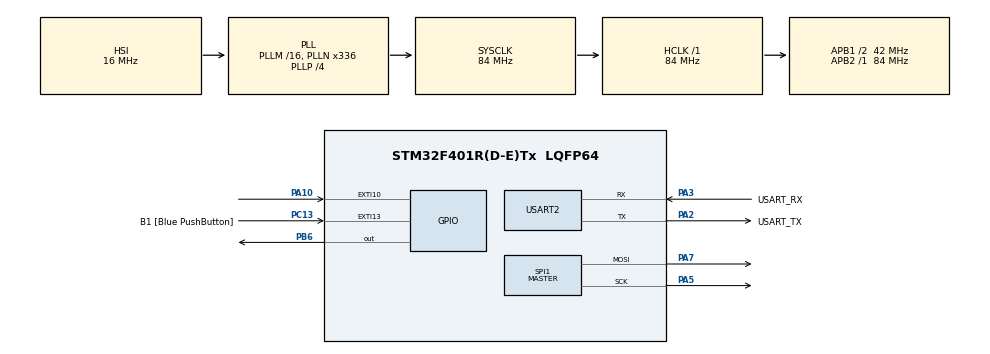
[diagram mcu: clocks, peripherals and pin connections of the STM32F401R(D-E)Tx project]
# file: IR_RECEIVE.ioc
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Dma.Request0=SPI1_TX
Dma.SPI1_TX.0.Direction=DMA_MEMORY_TO_PERIPH
Dma.SPI1_TX.0.FIFOMode=DMA_FIFOMODE_DISABLE
Dma.SPI1_TX.0.Instance=DMA2_Stream3
Dma.SPI1_TX.0.MemDataAlignment=DMA_MDATAALIGN_BYTE
Dma.SPI1_TX.0.MemInc=DMA_MINC_ENABLE
Dma.SPI1_TX.0.Mode=DMA_NORMAL
Dma.SPI1_TX.0.PeriphDataAlignment=DMA_PDATAALIGN_BYTE
Dma.SPI1_TX.0.PeriphInc=DMA_PINC_DISABLE
Dma.SPI1_TX.0.Priority=DMA_PRIORITY_LOW
Mcu.Family=STM32F4
Mcu.Name=STM32F401R(D-E)Tx
Mcu.Package=LQFP64
NVIC.DMA2_Stream3_IRQn=true\:0\:0\:false\:false\:true\:false\:true\:true
NVIC.EXTI15_10_IRQn=true\:0\:0\:false\:false\:true\:true\:true\:true
NVIC.PriorityGroup=NVIC_PRIORITYGROUP_0
NVIC.TIM1_UP_TIM10_IRQn=true\:0\:0\:false\:false\:true\:true\:true\:true
NVIC.TIM2_IRQn=true\:0\:0\:false\:false\:true\:true\:true\:true
NVIC.TIM3_IRQn=true\:0\:0\:false\:false\:true\:true\:true\:true
NVIC.USART2_IRQn=true\:0\:0\:false\:false\:true\:true\:true\:true
PA10.GPIO_ModeDefaultEXTI=GPIO_MODE_IT_FALLING
PA10.Signal=GPXTI10
PA13.GPIO_Label=TMS
PA13.Mode=Serial_Wire
PA13.Signal=SYS_JTMS-SWDIO
PA14.GPIO_Label=TCK
PA14.Mode=Serial_Wire
PA14.Signal=SYS_JTCK-SWCLK
PA2.GPIO_Label=USART_TX
PA2.GPIO_Mode=GPIO_MODE_AF_PP
PA2.GPIO_PuPd=GPIO_NOPULL
PA2.GPIO_Speed=GPIO_SPEED_FREQ_LOW
PA2.Mode=Asynchronous
PA2.Signal=USART2_TX
PA3.GPIO_Label=USART_RX
PA3.GPIO_Mode=GPIO_MODE_AF_PP
PA3.GPIO_PuPd=GPIO_NOPULL
PA3.GPIO_Speed=GPIO_SPEED_FREQ_LOW
PA3.Mode=Asynchronous
PA3.Signal=USART2_RX
PA5.Mode=TX_Only_Simplex_Unidirect_Master
PA5.Signal=SPI1_SCK
PA7.Mode=TX_Only_Simplex_Unidirect_Master
PA7.Signal=SPI1_MOSI
PB3.GPIO_Label=SWO
PB3.Signal=SYS_JTDO-SWO
PB6.Signal=GPIO_Output
PC13-ANTI_TAMP.GPIO_Label=B1 [Blue PushButton]
PC13-ANTI_TAMP.GPIO_ModeDefaultEXTI=GPIO_MODE_IT_FALLING
PC13-ANTI_TAMP.GPIO_PuPd=GPIO_NOPULL
PC13-ANTI_TAMP.Signal=GPXTI13
PC14-OSC32_IN.Mode=LSE-External-Oscillator
PC14-OSC32_IN.Signal=RCC_OSC32_IN
PC15-OSC32_OUT.Mode=LSE-External-Oscillator
PC15-OSC32_OUT.Signal=RCC_OSC32_OUT
PH0\ -\ OSC_IN.Mode=HSE-External-Clock-Source
PH0\ -\ OSC_IN.Signal=RCC_OSC_IN
PH1\ -\ OSC_OUT.Mode=HSE-External-Clock-Source
PH1\ -\ OSC_OUT.Signal=RCC_OSC_OUT
ProjectManager.HeapSize=0x200
ProjectManager.StackSize=0x400
ProjectManager.TargetToolchain=STM32CubeIDE
RCC.48MHZClocksFreq_Value=48000000
RCC.AHBFreq_Value=84000000
RCC.APB1CLKDivider=RCC_HCLK_DIV2
RCC.APB1Freq_Value=42000000
RCC.APB1TimFreq_Value=84000000
RCC.APB2Freq_Value=84000000
RCC.APB2TimFreq_Value=84000000
RCC.CortexFreq_Value=84000000
RCC.HCLKFreq_Value=84000000
RCC.HSE_VALUE=8000000
RCC.HSI_VALUE=16000000
RCC.PLLN=336
RCC.PLLP=RCC_PLLP_DIV4
RCC.PLLQ=7
RCC.SYSCLKFreq_VALUE=84000000
RCC.SYSCLKSource=RCC_SYSCLKSOURCE_PLLCLK
RCC.VCOOutputFreq_Value=336000000
SPI1.BaudRatePrescaler=SPI_BAUDRATEPRESCALER_4
SPI1.Direction=SPI_DIRECTION_2LINES
SPI1.Mode=SPI_MODE_MASTER
SPI1.VirtualType=VM_MASTER
TIM10.Period=4200-1
TIM10.Prescaler=840-1
TIM2.Channel-PWM\ Generation1\ No\ Output=TIM_CHANNEL_1
TIM2.Period=25000
TIM2.Prescaler=8400
TIM3.Channel-Output\ Compare1\ No\ Output=TIM_CHANNEL_1
TIM3.Period=400-1
TIM3.Prescaler=480-1
USART2.VirtualMode=VM_ASYNC
VP_TIM10_VS_ClockSourceINT.Mode=Enable_Timer
VP_TIM2_VS_no_output1.Mode=PWM Generation1 No Output
VP_TIM3_VS_no_output1.Mode=Output Compare1 No Output
board=NUCLEO-F401RE

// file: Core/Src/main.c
/* USER CODE BEGIN Header */
/**
  ******************************************************************************
  * @file           : main.c
  * @brief          : Main program body
  ******************************************************************************
  * @attention
  *
  * Copyright (c) 2023 STMicroelectronics.
  * All rights reserved.
  *
  * This software is licensed under terms that can be found in the LICENSE file
  * in the root directory of this software component.
  * If no LICENSE file comes with this software, it is provided AS-IS.
  *
  ******************************************************************************
  */
/* USER CODE END Header */
#include "main.h"

/* USER CODE BEGIN Includes */
#include "stdio.h"
/* USER CODE END Includes */

SPI_HandleTypeDef hspi1;
DMA_HandleTypeDef hdma_spi1_tx;

TIM_HandleTypeDef htim2;
TIM_HandleTypeDef htim3;
TIM_HandleTypeDef htim10;

UART_HandleTypeDef huart2;

/* USER CODE BEGIN PV */
uint8_t UART_started_flag = 0;
uint8_t bit_counter = 0;
uint8_t tim_elapsed = 0;
uint8_t payload = 0;
uint8_t bit_val = 0;

int index_letter = 0;

uint8_t A[10] ={31, 16, 36, 8, 68, 4, 36, 2, 31, 1};
uint8_t B[10] ={127, 16, 73, 8, 73, 4, 73, 2, 54, 1};
uint8_t C[10] ={62, 16, 65, 8, 65, 4, 65, 2, 34, 1};
uint8_t D[10] ={127, 16, 65, 8, 65, 4, 65, 2, 62, 1};
uint8_t E[10] ={127, 16, 73, 8, 73, 4, 73, 2, 73, 1};
uint8_t F[10] ={127, 16, 72, 8, 72, 4, 72, 2, 72, 1};
uint8_t ZERO[10] ={62, 16, 113, 8, 73, 4, 71, 2, 62, 1};
uint8_t ONE[10] ={16, 16, 33, 8, 127, 4, 1, 2, 0, 1};
uint8_t TWO[10] ={33, 16, 67, 8, 69, 4, 73, 2, 49, 1};
uint8_t THREE[10] ={34, 16, 65, 8, 73, 4, 73, 2, 54, 1};
uint8_t FOUR[10] ={120, 16, 8, 8, 8, 4, 8, 2, 127, 1};
uint8_t FIVE[10] ={114, 16, 81, 8, 81, 4, 81, 2, 78, 1};
uint8_t SIX[10] ={62, 16, 73, 8, 73, 4, 73, 2, 38, 1};
uint8_t SEVEN[10] ={64, 16, 64, 8, 79, 4, 80, 2, 96, 1};
uint8_t EIGHT[10] ={54, 16, 73, 8, 73, 4, 73, 2, 54, 1};
uint8_t NINE[10] ={50, 16, 73, 8, 73, 4, 73, 2, 62, 1};
uint8_t VOID[10] ={0, 16, 0, 8, 0, 4, 0, 2, 0, 1};

uint8_t *buffer;
/* USER CODE END PV */

void SystemClock_Config(void);
static void MX_GPIO_Init(void);
static void MX_DMA_Init(void);
static void MX_USART2_UART_Init(void);
static void MX_TIM10_Init(void);
static void MX_TIM3_Init(void);
static void MX_SPI1_Init(void);
static void MX_TIM2_Init(void);

/* USER CODE BEGIN 0 */

// Only for the first falling edge (start bit), set the flag to 1
void HAL_GPIO_EXTI_Callback(uint16_t GPIO_Pin){
	if(GPIO_Pin == GPIO_PIN_10){
    //only if it is the first bit (start) that triggered the interrupt, set flag to 1
		if(bit_counter == 0)
			UART_started_flag = 1;
		else
			UART_started_flag = 0;
	}
}

void HAL_TIM_PeriodElapsedCallback (TIM_HandleTypeDef *htim){
	if(htim == &htim10){
    //increase bit count and set flag to 1
		if(bit_counter<9){
			bit_counter++;
			tim_elapsed = 1;
		}
		else{
      //stop bit reached, reset payload, bit counter and flags. Stop timer
			payload = 0;
			bit_counter = 0;
			tim_elapsed = 0;
			HAL_TIM_Base_Stop_IT(&htim10);
		}
	}

	if(htim == &htim3){

		//HAL_GPIO_TogglePin(GPIOB,GPIO_PIN_6);
		HAL_GPIO_WritePin(GPIOB, GPIO_PIN_6, GPIO_PIN_RESET);
	    HAL_SPI_Transmit_DMA(&hspi1,&buffer[index_letter],2);

		index_letter+=2;

		if(index_letter == 10)
		{
			index_letter = 0;
		}

	}

	if(htim == &htim2){
		buffer = VOID;
	}
}

void HAL_SPI_TxCpltCallback(SPI_HandleTypeDef *hspi)
{
	//HAL_GPIO_TogglePin(GPIOB,GPIO_PIN_6);
	HAL_GPIO_WritePin(GPIOB, GPIO_PIN_6, GPIO_PIN_SET);

}
/* USER CODE END 0 */

int main(void)
{
  /* USER CODE BEGIN 1 */
  uint8_t len = 0;
  char buff[100];
  /* USER CODE END 1 */

  /* MCU Configuration--------------------------------------------------------*/

  /* Reset of all peripherals, Initializes the Flash interface and the Systick. */
  HAL_Init();

  /* Configure the system clock */
  SystemClock_Config();

  /* Initialize all configured peripherals */
  MX_GPIO_Init();
  MX_DMA_Init();
  MX_USART2_UART_Init();
  MX_TIM10_Init();
  MX_TIM3_Init();
  MX_SPI1_Init();
  MX_TIM2_Init();
  /* USER CODE BEGIN 2 */

  HAL_TIM_Base_Start_IT(&htim2);
  HAL_TIM_Base_Start_IT(&htim3);

  HAL_GPIO_TogglePin(GPIOB,GPIO_PIN_6);
  HAL_SPI_Transmit_DMA(&hspi1,&buffer[0],2);
  /* USER CODE END 2 */

  /* Infinite loop */
  /* USER CODE BEGIN WHILE */
  while (1)
  {
    //only if start bit arrived or timer elapsed, execute code inside the if
    if(UART_started_flag || tim_elapsed){

      //read bit value
      bit_val = HAL_GPIO_ReadPin(GPIOA, GPIO_PIN_10);

      //print bit value to UART
      len = snprintf(buff, sizeof(buff)," %d ", bit_val);
      if(HAL_UART_Transmit(&huart2, (uint8_t*) &buff, len,100) != HAL_OK)
        Error_Handler();

      //add bit to payload
      if(bit_counter != 0){
        payload = (payload | (bit_val << (bit_counter-1))) & 0b01111111;
      }

      //if 10th bit reached, print payload to UART
      if(bit_counter == 9){
        len = snprintf(buff, sizeof(buff)," = Payload: %d\n", payload);
        //send through UART the number of pushbutton pressed
        if(HAL_UART_Transmit(&huart2, (uint8_t*) &buff, len,100) != HAL_OK)
          Error_Handler();
      }
      switch ((int)payload){
      case 0:
    	  buffer = ZERO;
    	  break;
      case 1:
    	  buffer = ONE;
    	  break;
      case 2:
    	  buffer = TWO;
    	  break;
      case 3:
		  buffer = THREE;
		  break;
      case 4:
		  buffer = FOUR;
		  break;
      case 5:
		  buffer = FIVE;
		  break;
      case 6:
		  buffer = SIX;
		  break;
      case 7:
		  buffer = SEVEN;
		  break;
      case 8:
		  buffer = EIGHT;
		  break;
      case 9:
		  buffer = NINE;
		  break;
      case 10:
		  buffer = A;
		  break;
      case 11:
		  buffer = B;
		  break;
      case 12:
		  buffer = C;
		  break;
      case 13:
		  buffer = D;
		  break;
      case 14:
		  buffer = E;
		  break;
      case 15:
		  buffer = F;
		  break;
      default:
    	  buffer = VOID;
    	  break;
      }

      //reset the 2.5 seconds counter every time a new transmission happens
      __HAL_TIM_SET_COUNTER(&htim2,0);

      //start the timer and reset the flags
      __HAL_TIM_SET_AUTORELOAD(&htim10, 420-1);
      HAL_TIM_Base_Start_IT(&htim10);
      UART_started_flag = 0;
      tim_elapsed = 0;
    }

    /* USER CODE END WHILE */

  }
}

void SystemClock_Config(void)
{
  RCC_OscInitTypeDef RCC_OscInitStruct = {0};
  RCC_ClkInitTypeDef RCC_ClkInitStruct = {0};

  /** Configure the main internal regulator output voltage
  */
  __HAL_RCC_PWR_CLK_ENABLE();
  __HAL_PWR_VOLTAGESCALING_CONFIG(PWR_REGULATOR_VOLTAGE_SCALE2);

  /** Initializes the RCC Oscillators according to the specified parameters
  * in the RCC_OscInitTypeDef structure.
  */
  RCC_OscInitStruct.OscillatorType = RCC_OSCILLATORTYPE_HSI;
  RCC_OscInitStruct.HSIState = RCC_HSI_ON;
  RCC_OscInitStruct.HSICalibrationValue = RCC_HSICALIBRATION_DEFAULT;
  RCC_OscInitStruct.PLL.PLLState = RCC_PLL_ON;
  RCC_OscInitStruct.PLL.PLLSource = RCC_PLLSOURCE_HSI;
  RCC_OscInitStruct.PLL.PLLM = 16;
  RCC_OscInitStruct.PLL.PLLN = 336;
  RCC_OscInitStruct.PLL.PLLP = RCC_PLLP_DIV4;
  RCC_OscInitStruct.PLL.PLLQ = 7;
  if (HAL_RCC_OscConfig(&RCC_OscInitStruct) != HAL_OK)
  {
    Error_Handler();
  }

  /** Initializes the CPU, AHB and APB buses clocks
  */
  RCC_ClkInitStruct.ClockType = RCC_CLOCKTYPE_HCLK|RCC_CLOCKTYPE_SYSCLK
                              |RCC_CLOCKTYPE_PCLK1|RCC_CLOCKTYPE_PCLK2;
  RCC_ClkInitStruct.SYSCLKSource = RCC_SYSCLKSOURCE_PLLCLK;
  RCC_ClkInitStruct.AHBCLKDivider = RCC_SYSCLK_DIV1;
  RCC_ClkInitStruct.APB1CLKDivider = RCC_HCLK_DIV2;
  RCC_ClkInitStruct.APB2CLKDivider = RCC_HCLK_DIV1;

  if (HAL_RCC_ClockConfig(&RCC_ClkInitStruct, FLASH_LATENCY_2) != HAL_OK)
  {
    Error_Handler();
  }
}

static void MX_SPI1_Init(void)
{

  /* SPI1 parameter configuration*/
  hspi1.Instance = SPI1;
  hspi1.Init.Mode = SPI_MODE_MASTER;
  hspi1.Init.Direction = SPI_DIRECTION_2LINES;
  hspi1.Init.DataSize = SPI_DATASIZE_8BIT;
  hspi1.Init.CLKPolarity = SPI_POLARITY_LOW;
  hspi1.Init.CLKPhase = SPI_PHASE_1EDGE;
  hspi1.Init.NSS = SPI_NSS_SOFT;
  hspi1.Init.BaudRatePrescaler = SPI_BAUDRATEPRESCALER_4;
  hspi1.Init.FirstBit = SPI_FIRSTBIT_MSB;
  hspi1.Init.TIMode = SPI_TIMODE_DISABLE;
  hspi1.Init.CRCCalculation = SPI_CRCCALCULATION_DISABLE;
  hspi1.Init.CRCPolynomial = 10;
  if (HAL_SPI_Init(&hspi1) != HAL_OK)
  {
    Error_Handler();
  }

}

static void MX_TIM2_Init(void)
{

  TIM_MasterConfigTypeDef sMasterConfig = {0};
  TIM_OC_InitTypeDef sConfigOC = {0};

  htim2.Instance = TIM2;
  htim2.Init.Prescaler = 8400;
  htim2.Init.CounterMode = TIM_COUNTERMODE_UP;
  htim2.Init.Period = 25000;
  htim2.Init.ClockDivision = TIM_CLOCKDIVISION_DIV1;
  htim2.Init.AutoReloadPreload = TIM_AUTORELOAD_PRELOAD_DISABLE;
  if (HAL_TIM_PWM_Init(&htim2) != HAL_OK)
  {
    Error_Handler();
  }
  sMasterConfig.MasterOutputTrigger = TIM_TRGO_RESET;
  sMasterConfig.MasterSlaveMode = TIM_MASTERSLAVEMODE_DISABLE;
  if (HAL_TIMEx_MasterConfigSynchronization(&htim2, &sMasterConfig) != HAL_OK)
  {
    Error_Handler();
  }
  sConfigOC.OCMode = TIM_OCMODE_PWM1;
  sConfigOC.Pulse = 0;
  sConfigOC.OCPolarity = TIM_OCPOLARITY_HIGH;
  sConfigOC.OCFastMode = TIM_OCFAST_DISABLE;
  if (HAL_TIM_PWM_ConfigChannel(&htim2, &sConfigOC, TIM_CHANNEL_1) != HAL_OK)
  {
    Error_Handler();
  }

}

static void MX_TIM3_Init(void)
{

  TIM_MasterConfigTypeDef sMasterConfig = {0};
  TIM_OC_InitTypeDef sConfigOC = {0};

  htim3.Instance = TIM3;
  htim3.Init.Prescaler = 480-1;
  htim3.Init.CounterMode = TIM_COUNTERMODE_UP;
  htim3.Init.Period = 400-1;
  htim3.Init.ClockDivision = TIM_CLOCKDIVISION_DIV1;
  htim3.Init.AutoReloadPreload = TIM_AUTORELOAD_PRELOAD_DISABLE;
  if (HAL_TIM_OC_Init(&htim3) != HAL_OK)
  {
    Error_Handler();
  }
  sMasterConfig.MasterOutputTrigger = TIM_TRGO_RESET;
  sMasterConfig.MasterSlaveMode = TIM_MASTERSLAVEMODE_DISABLE;
  if (HAL_TIMEx_MasterConfigSynchronization(&htim3, &sMasterConfig) != HAL_OK)
  {
    Error_Handler();
  }
  sConfigOC.OCMode = TIM_OCMODE_TIMING;
  sConfigOC.Pulse = 0;
  sConfigOC.OCPolarity = TIM_OCPOLARITY_HIGH;
  sConfigOC.OCFastMode = TIM_OCFAST_DISABLE;
  if (HAL_TIM_OC_ConfigChannel(&htim3, &sConfigOC, TIM_CHANNEL_1) != HAL_OK)
  {
    Error_Handler();
  }

}

static void MX_TIM10_Init(void)
{

  htim10.Instance = TIM10;
  htim10.Init.Prescaler = 840-1;
  htim10.Init.CounterMode = TIM_COUNTERMODE_UP;
  htim10.Init.Period = 4200-1;
  htim10.Init.ClockDivision = TIM_CLOCKDIVISION_DIV1;
  htim10.Init.AutoReloadPreload = TIM_AUTORELOAD_PRELOAD_DISABLE;
  if (HAL_TIM_Base_Init(&htim10) != HAL_OK)
  {
    Error_Handler();
  }

}

static void MX_USART2_UART_Init(void)
{

  huart2.Instance = USART2;
  huart2.Init.BaudRate = 115200;
  huart2.Init.WordLength = UART_WORDLENGTH_8B;
  huart2.Init.StopBits = UART_STOPBITS_1;
  huart2.Init.Parity = UART_PARITY_NONE;
  huart2.Init.Mode = UART_MODE_TX_RX;
  huart2.Init.HwFlowCtl = UART_HWCONTROL_NONE;
  huart2.Init.OverSampling = UART_OVERSAMPLING_16;
  if (HAL_UART_Init(&huart2) != HAL_OK)
  {
    Error_Handler();
  }

}

static void MX_DMA_Init(void)
{

  /* DMA controller clock enable */
  __HAL_RCC_DMA2_CLK_ENABLE();

  /* DMA interrupt init */
  /* DMA2_Stream3_IRQn interrupt configuration */
  HAL_NVIC_SetPriority(DMA2_Stream3_IRQn, 0, 0);
  HAL_NVIC_EnableIRQ(DMA2_Stream3_IRQn);

}

static void MX_GPIO_Init(void)
{
  GPIO_InitTypeDef GPIO_InitStruct = {0};

  /* GPIO Ports Clock Enable */
  __HAL_RCC_GPIOC_CLK_ENABLE();
  __HAL_RCC_GPIOH_CLK_ENABLE();
  __HAL_RCC_GPIOA_CLK_ENABLE();
  __HAL_RCC_GPIOB_CLK_ENABLE();

  /*Configure GPIO pin Output Level */
  HAL_GPIO_WritePin(GPIOB, GPIO_PIN_6, GPIO_PIN_RESET);

  /*Configure GPIO pin : B1_Pin */
  GPIO_InitStruct.Pin = B1_Pin;
  GPIO_InitStruct.Mode = GPIO_MODE_IT_FALLING;
  GPIO_InitStruct.Pull = GPIO_NOPULL;
  HAL_GPIO_Init(B1_GPIO_Port, &GPIO_InitStruct);

  /*Configure GPIO pin : PA10 */
  GPIO_InitStruct.Pin = GPIO_PIN_10;
  GPIO_InitStruct.Mode = GPIO_MODE_IT_FALLING;
  GPIO_InitStruct.Pull = GPIO_NOPULL;
  HAL_GPIO_Init(GPIOA, &GPIO_InitStruct);

  /*Configure GPIO pin : PB6 */
  GPIO_InitStruct.Pin = GPIO_PIN_6;
  GPIO_InitStruct.Mode = GPIO_MODE_OUTPUT_PP;
  GPIO_InitStruct.Pull = GPIO_NOPULL;
  GPIO_InitStruct.Speed = GPIO_SPEED_FREQ_LOW;
  HAL_GPIO_Init(GPIOB, &GPIO_InitStruct);

  /* EXTI interrupt init*/
  HAL_NVIC_SetPriority(EXTI15_10_IRQn, 0, 0);
  HAL_NVIC_EnableIRQ(EXTI15_10_IRQn);

}

void Error_Handler(void)
{
  __disable_irq();
  while (1)
  {
  }
}
